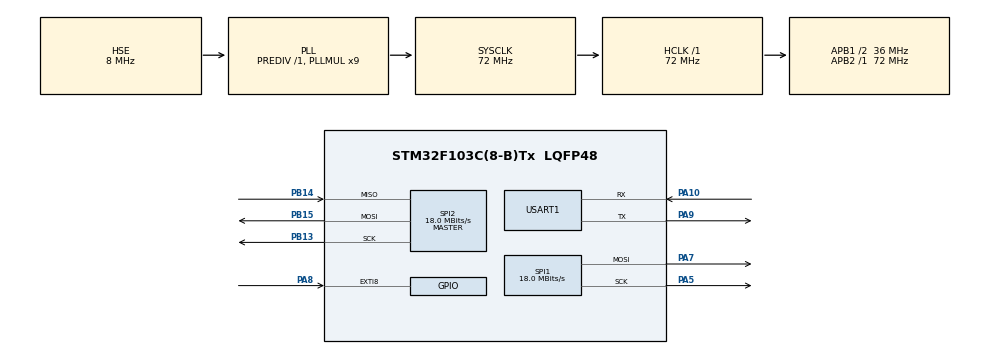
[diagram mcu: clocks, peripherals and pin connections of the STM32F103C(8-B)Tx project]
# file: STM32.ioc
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FREERTOS.Tasks01=transmit_data2s,24,256,StartDefaultTask,Default,NULL,Dynamic,NULL,NULL;read_sensor_tas,16,256,StartTask02,Default,NULL,Dynamic,NULL,NULL
FREERTOS.configUSE_NEWLIB_REENTRANT=1
Mcu.Family=STM32F1
Mcu.Name=STM32F103C(8-B)Tx
Mcu.Package=LQFP48
NVIC.EXTI9_5_IRQn=true\:5\:0\:false\:false\:true\:true\:true\:true\:true
NVIC.PriorityGroup=NVIC_PRIORITYGROUP_4
NVIC.RCC_IRQn=true\:5\:0\:false\:false\:true\:true\:true\:false\:true
NVIC.TIM3_IRQn=true\:15\:0\:false\:false\:true\:false\:false\:true\:true
NVIC.TimeBase=TIM3_IRQn
NVIC.TimeBaseIP=TIM3
PA10.Mode=Asynchronous
PA10.Signal=USART1_RX
PA13.Mode=Serial_Wire
PA13.Signal=SYS_JTMS-SWDIO
PA14.Mode=Serial_Wire
PA14.Signal=SYS_JTCK-SWCLK
PA4.Signal=SPI1_NSS
PA5.Mode=TX_Only_Simplex_Unidirect_Master
PA5.Signal=SPI1_SCK
PA6.Signal=SPI1_MISO
PA7.Mode=TX_Only_Simplex_Unidirect_Master
PA7.Signal=SPI1_MOSI
PA8.GPIO_ModeDefaultEXTI=GPIO_MODE_IT_FALLING
PA8.GPIO_PuPd=GPIO_PULLUP
PA8.Signal=GPXTI8
PA9.Mode=Asynchronous
PA9.Signal=USART1_TX
PB12.Signal=SPI2_NSS
PB13.Mode=Full_Duplex_Master
PB13.Signal=SPI2_SCK
PB14.Mode=Full_Duplex_Master
PB14.Signal=SPI2_MISO
PB15.Mode=Full_Duplex_Master
PB15.Signal=SPI2_MOSI
PD0-OSC_IN.Mode=HSE-External-Oscillator
PD0-OSC_IN.Signal=RCC_OSC_IN
PD1-OSC_OUT.Mode=HSE-External-Oscillator
PD1-OSC_OUT.Signal=RCC_OSC_OUT
ProjectManager.HeapSize=0x200
ProjectManager.StackSize=0x400
ProjectManager.TargetToolchain=STM32CubeIDE
RCC.AHBFreq_Value=72000000
RCC.APB1CLKDivider=RCC_HCLK_DIV2
RCC.APB1Freq_Value=36000000
RCC.APB1TimFreq_Value=72000000
RCC.APB2Freq_Value=72000000
RCC.APB2TimFreq_Value=72000000
RCC.HCLKFreq_Value=72000000
RCC.PLLMUL=RCC_PLL_MUL9
RCC.PLLSourceVirtual=RCC_PLLSOURCE_HSE
RCC.SYSCLKFreq_VALUE=72000000
RCC.SYSCLKSource=RCC_SYSCLKSOURCE_PLLCLK
RCC.USBFreq_Value=72000000
SPI1.BaudRatePrescaler=SPI_BAUDRATEPRESCALER_4
SPI1.CalculateBaudRate=18.0 MBits/s
SPI1.DataSize=SPI_DATASIZE_8BIT
SPI1.Direction=SPI_DIRECTION_2LINES
SPI1.Mode=SPI_MODE_MASTER
SPI1.VirtualType=VM_MASTER
SPI2.BaudRatePrescaler=SPI_BAUDRATEPRESCALER_2
SPI2.CalculateBaudRate=18.0 MBits/s
SPI2.Direction=SPI_DIRECTION_2LINES
SPI2.Mode=SPI_MODE_MASTER
SPI2.VirtualType=VM_MASTER
USART1.VirtualMode=VM_ASYNC
VP_FREERTOS_VS_CMSIS_V2.Mode=CMSIS_V2
VP_SYS_VS_tim3.Mode=TIM3
board=custom

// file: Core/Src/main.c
/* USER CODE BEGIN Header */
/**
  ******************************************************************************
  * @file           : main.c
  * @brief          : Main program body
  ******************************************************************************
  * @attention
  *
  * Copyright (c) 2026 STMicroelectronics.
  * All rights reserved.
  *
  * This software is licensed under terms that can be found in the LICENSE file
  * in the root directory of this software component.
  * If no LICENSE file comes with this software, it is provided AS-IS.
  *
  ******************************************************************************
  */
/* USER CODE END Header */
#include "main.h"
#include "cmsis_os.h"

/* USER CODE BEGIN Includes */
#include <stdio.h>
/* USER CODE END Includes */

/* USER CODE BEGIN PTD */
#ifdef __GNUC__
  #define PUTCHAR_PROTOTYPE int __io_putchar(int ch)
#else
  #define PUTCHAR_PROTOTYPE int fputc(int ch, FILE *f)
#endif
/* USER CODE END PTD */

/* USER CODE BEGIN PD */
#define TASK02_FLAG_INT              (1U << 0)

#define MAX30003_STATUS_EINT         (1UL << 23)
#define MAX30003_STATUS_RTOR         (1UL << 10)

#define MAX30003_RTOR_REG_OFFSET     10U
#define MAX30003_RTOR_LSB_RES        0.0078125f
#define MAX30003_ETAG_BITS           0x07U

#define FIFO_VALID_SAMPLE            0x00U
#define FIFO_FAST_SAMPLE             0x01U
#define FIFO_OVF                     0x07U
/* USER CODE END PD */

/* USER CODE BEGIN PM */
void ecg_config(MAX30003_SPI *dev);
void store_sample_to_buff(int32_t sample);
/* USER CODE END PM */

SPI_HandleTypeDef hspi1;
SPI_HandleTypeDef hspi2;

UART_HandleTypeDef huart1;

/* Definitions for transmit_data2s */
osThreadId_t transmit_data2sHandle;
const osThreadAttr_t transmit_data2s_attributes = {
  .name = "transmit_data2s",
  .stack_size = 256 * 4,
  .priority = (osPriority_t) osPriorityNormal,
};
/* Definitions for read_sensor_tas */
osThreadId_t read_sensor_tasHandle;
const osThreadAttr_t read_sensor_tas_attributes = {
  .name = "read_sensor_tas",
  .stack_size = 256 * 4,
  .priority = (osPriority_t) osPriorityBelowNormal,
};
/* USER CODE BEGIN PV */
int32_t data_buffer1[LENGTH_BUFFER] = {0};
int32_t data_buffer2[LENGTH_BUFFER] = {0};
volatile int32_t *fill_buffer =  data_buffer1;
volatile int32_t *tx_buffer = NULL;
volatile bool buffer_ready = false;
volatile uint16_t fill_index = 0;
MAX30003_SPI max30003_spi;
/* USER CODE END PV */

void SystemClock_Config(void);
static void MX_GPIO_Init(void);
static void MX_SPI1_Init(void);
static void MX_SPI2_Init(void);
static void MX_USART1_UART_Init(void);
void StartDefaultTask(void *argument);
void StartTask02(void *argument);

/* USER CODE BEGIN 0 */
PUTCHAR_PROTOTYPE{
	HAL_UART_Transmit(&huart1, (uint8_t *)&ch, 1, 0xFFFF);
	  return ch;
}
/* USER CODE END 0 */

int main(void)
{

  /* MCU Configuration--------------------------------------------------------*/

  /* Reset of all peripherals, Initializes the Flash interface and the Systick. */
  HAL_Init();

  /* Configure the system clock */
  SystemClock_Config();

  /* Initialize all configured peripherals */
  MX_GPIO_Init();
  MX_SPI1_Init();
  MX_SPI2_Init();
  MX_USART1_UART_Init();

  /* Init scheduler */
  osKernelInitialize();

  /* Create the thread(s) */
  /* creation of transmit_data2s */
  transmit_data2sHandle = osThreadNew(StartDefaultTask, NULL, &transmit_data2s_attributes);

  /* creation of read_sensor_tas */
  read_sensor_tasHandle = osThreadNew(StartTask02, NULL, &read_sensor_tas_attributes);

  /* Start scheduler */
  osKernelStart();

  /* We should never get here as control is now taken by the scheduler */

  /* Infinite loop */
  while (1)
  {

  }
}

void SystemClock_Config(void)
{
  RCC_OscInitTypeDef RCC_OscInitStruct = {0};
  RCC_ClkInitTypeDef RCC_ClkInitStruct = {0};

  /** Initializes the RCC Oscillators according to the specified parameters
  * in the RCC_OscInitTypeDef structure.
  */
  RCC_OscInitStruct.OscillatorType = RCC_OSCILLATORTYPE_HSE;
  RCC_OscInitStruct.HSEState = RCC_HSE_ON;
  RCC_OscInitStruct.HSEPredivValue = RCC_HSE_PREDIV_DIV1;
  RCC_OscInitStruct.HSIState = RCC_HSI_ON;
  RCC_OscInitStruct.PLL.PLLState = RCC_PLL_ON;
  RCC_OscInitStruct.PLL.PLLSource = RCC_PLLSOURCE_HSE;
  RCC_OscInitStruct.PLL.PLLMUL = RCC_PLL_MUL9;
  if (HAL_RCC_OscConfig(&RCC_OscInitStruct) != HAL_OK)
  {
    Error_Handler();
  }

  /** Initializes the CPU, AHB and APB buses clocks
  */
  RCC_ClkInitStruct.ClockType = RCC_CLOCKTYPE_HCLK|RCC_CLOCKTYPE_SYSCLK
                              |RCC_CLOCKTYPE_PCLK1|RCC_CLOCKTYPE_PCLK2;
  RCC_ClkInitStruct.SYSCLKSource = RCC_SYSCLKSOURCE_PLLCLK;
  RCC_ClkInitStruct.AHBCLKDivider = RCC_SYSCLK_DIV1;
  RCC_ClkInitStruct.APB1CLKDivider = RCC_HCLK_DIV2;
  RCC_ClkInitStruct.APB2CLKDivider = RCC_HCLK_DIV1;

  if (HAL_RCC_ClockConfig(&RCC_ClkInitStruct, FLASH_LATENCY_2) != HAL_OK)
  {
    Error_Handler();
  }
}

static void MX_SPI1_Init(void)
{

  /* SPI1 parameter configuration*/
  hspi1.Instance = SPI1;
  hspi1.Init.Mode = SPI_MODE_MASTER;
  hspi1.Init.Direction = SPI_DIRECTION_2LINES;
  hspi1.Init.DataSize = SPI_DATASIZE_8BIT;
  hspi1.Init.CLKPolarity = SPI_POLARITY_LOW;
  hspi1.Init.CLKPhase = SPI_PHASE_1EDGE;
  hspi1.Init.NSS = SPI_NSS_SOFT;
  hspi1.Init.BaudRatePrescaler = SPI_BAUDRATEPRESCALER_4;
  hspi1.Init.FirstBit = SPI_FIRSTBIT_MSB;
  hspi1.Init.TIMode = SPI_TIMODE_DISABLE;
  hspi1.Init.CRCCalculation = SPI_CRCCALCULATION_DISABLE;
  hspi1.Init.CRCPolynomial = 10;
  if (HAL_SPI_Init(&hspi1) != HAL_OK)
  {
    Error_Handler();
  }

}

static void MX_SPI2_Init(void)
{

  /* SPI2 parameter configuration*/
  hspi2.Instance = SPI2;
  hspi2.Init.Mode = SPI_MODE_MASTER;
  hspi2.Init.Direction = SPI_DIRECTION_2LINES;
  hspi2.Init.DataSize = SPI_DATASIZE_8BIT;
  hspi2.Init.CLKPolarity = SPI_POLARITY_LOW;
  hspi2.Init.CLKPhase = SPI_PHASE_1EDGE;
  hspi2.Init.NSS = SPI_NSS_SOFT;
  hspi2.Init.BaudRatePrescaler = SPI_BAUDRATEPRESCALER_32;
  hspi2.Init.FirstBit = SPI_FIRSTBIT_MSB;
  hspi2.Init.TIMode = SPI_TIMODE_DISABLE;
  hspi2.Init.CRCCalculation = SPI_CRCCALCULATION_DISABLE;
  hspi2.Init.CRCPolynomial = 10;
  if (HAL_SPI_Init(&hspi2) != HAL_OK)
  {
    Error_Handler();
  }

}

static void MX_USART1_UART_Init(void)
{

  huart1.Instance = USART1;
  huart1.Init.BaudRate = 115200;
  huart1.Init.WordLength = UART_WORDLENGTH_8B;
  huart1.Init.StopBits = UART_STOPBITS_1;
  huart1.Init.Parity = UART_PARITY_NONE;
  huart1.Init.Mode = UART_MODE_TX_RX;
  huart1.Init.HwFlowCtl = UART_HWCONTROL_NONE;
  huart1.Init.OverSampling = UART_OVERSAMPLING_16;
  if (HAL_UART_Init(&huart1) != HAL_OK)
  {
    Error_Handler();
  }

}

static void MX_GPIO_Init(void)
{
  GPIO_InitTypeDef GPIO_InitStruct = {0};

  /* GPIO Ports Clock Enable */
  __HAL_RCC_GPIOD_CLK_ENABLE();
  __HAL_RCC_GPIOA_CLK_ENABLE();
  __HAL_RCC_GPIOB_CLK_ENABLE();

  /*Configure GPIO pin : PA8 */
  GPIO_InitStruct.Pin = GPIO_PIN_8;
  GPIO_InitStruct.Mode = GPIO_MODE_IT_FALLING;
  GPIO_InitStruct.Pull = GPIO_PULLUP;
  HAL_GPIO_Init(GPIOA, &GPIO_InitStruct);

  /* EXTI interrupt init*/
  HAL_NVIC_SetPriority(EXTI9_5_IRQn, 5, 0);
  HAL_NVIC_EnableIRQ(EXTI9_5_IRQn);

}

/* USER CODE BEGIN 4 */
void HAL_GPIO_EXTI_Callback(uint16_t GPIO_Pin)
{
    if (GPIO_Pin == GPIO_PIN_8)
    {
      printf("exti fired\r\n");
      if (read_sensor_tasHandle != NULL)
      {
          osThreadFlagsSet(read_sensor_tasHandle, TASK02_FLAG_INT);
      }
    }
}

void ecg_config(MAX30003_SPI *dev)
{
  HAL_StatusTypeDef status;

  GeneralConfiguration_u      cnfg_gen;
  ECGConfiguration_u          cnfg_ecg;
  RtoR1Configuration_u        cnfg_rtor;
  ManageInterrupts_u          mngr_int;
  EnableInterrupts_u          en_int;
  ManageDynamicModes_u        mngr_dyn;
  MuxConfiguration_u          cnfg_mux;

  if (dev == NULL)
  {
    printf("ecg_config: dev is NULL\r\n");
    return;
  }

  printf("ecg_config: start\r\n");

  // Reset ECG to clear registers
  printf("ecg_config: write SW_RST\r\n");
  status = max30003_writeRegister(dev, SW_RST, 0);
  if (status != HAL_OK)
  {
    printf("ecg_config: write SW_RST failed, status = %d\r\n", status);
    return;
  }

  printf("ecg_config: SW_RST ok\r\n");
  osDelay(100);

  // general config register
  cnfg_gen.all = 0;
  cnfg_gen.bits.en_ecg = 1;
  cnfg_gen.bits.rbiasn = 1;
  cnfg_gen.bits.rbiasp = 1;
  cnfg_gen.bits.en_rbias = 1;
  cnfg_gen.bits.imag = 2;
  cnfg_gen.bits.en_dcloff = 1;

  printf("ecg_config: write CNFG_GEN = 0x%08lX\r\n", cnfg_gen.all);
  status = max30003_writeRegister(dev, CNFG_GEN, cnfg_gen.all);
  if (status != HAL_OK)
  {
    printf("ecg_config: write CNFG_GEN failed, status = %d\r\n", status);
    return;
  }
  printf("ecg_config: CNFG_GEN ok\r\n");

  // ECG config register
  cnfg_ecg.all = 0;
  cnfg_ecg.bits.dlpf = 1;
  cnfg_ecg.bits.dhpf = 1;
  cnfg_ecg.bits.gain = 3;
  cnfg_ecg.bits.rate = 2;

  printf("ecg_config: write CNFG_ECG = 0x%08lX\r\n", cnfg_ecg.all);
  status = max30003_writeRegister(dev, CNFG_ECG, cnfg_ecg.all);
  if (status != HAL_OK)
  {
    printf("ecg_config: write CNFG_ECG failed, status = %d\r\n", status);
    return;
  }
  printf("ecg_config: CNFG_ECG ok\r\n");

  // R-to-R config
  cnfg_rtor.all = 0;
  cnfg_rtor.bits.wndw = 0x03;
  cnfg_rtor.bits.rgain = 0x0F;
  cnfg_rtor.bits.pavg = 0x03;
  cnfg_rtor.bits.ptsf = 0x03;
  cnfg_rtor.bits.en_rtor = 1;

  printf("ecg_config: write CNFG_RTOR1 = 0x%08lX\r\n", cnfg_rtor.all);
  status = max30003_writeRegister(dev, CNFG_RTOR1, cnfg_rtor.all);
  if (status != HAL_OK)
  {
    printf("ecg_config: write CNFG_RTOR1 failed, status = %d\r\n", status);
    return;
  }
  printf("ecg_config: CNFG_RTOR1 ok\r\n");

  // manage interrupts register
  mngr_int.all = 0;
  mngr_int.bits.efit = 0x03;
  mngr_int.bits.clr_rrint = 0x01;

  printf("ecg_config: write MNGR_INT = 0x%08lX\r\n", mngr_int.all);
  status = max30003_writeRegister(dev, MNGR_INT, mngr_int.all);
  if (status != HAL_OK)
  {
    printf("ecg_config: write MNGR_INT failed, status = %d\r\n", status);
    return;
  }
  printf("ecg_config: MNGR_INT ok\r\n");

  // Enable interrupts register setting
  en_int.all = 0;
  en_int.bits.en_eint = 1;
  en_int.bits.en_rrint = 1;
  en_int.bits.intb_type = 0x03;   // 01b = CMOS driver

  printf("ecg_config: write EN_INT = 0x%08lX\r\n", en_int.all);
  status = max30003_writeRegister(dev, EN_INT, en_int.all);
  if (status != HAL_OK)
  {
    printf("ecg_config: write EN_INT failed, status = %d\r\n", status);
    return;
  }
  printf("ecg_config: EN_INT ok\r\n");

  // dynamic mode config
  mngr_dyn.all = 0;
  mngr_dyn.bits.fast = 0;

  printf("ecg_config: write MNGR_DYN = 0x%08lX\r\n", mngr_dyn.all);
  status = max30003_writeRegister(dev, MNGR_DYN, mngr_dyn.all);
  if (status != HAL_OK)
  {
    printf("ecg_config: write MNGR_DYN failed, status = %d\r\n", status);
    return;
  }
  printf("ecg_config: MNGR_DYN ok\r\n");

  // MUX config
  cnfg_mux.all = 0;
  cnfg_mux.bits.openn = 0;
  cnfg_mux.bits.openp = 0;

  printf("ecg_config: write CNFG_EMUX = 0x%08lX\r\n", cnfg_mux.all);
  status = max30003_writeRegister(dev, CNFG_EMUX, cnfg_mux.all);
  if (status != HAL_OK)
  {
    printf("ecg_config: write CNFG_EMUX failed, status = %d\r\n", status);
    return;
  }
  printf("ecg_config: CNFG_EMUX ok\r\n");

  printf("ecg_config: done\r\n");
}
void store_sample_to_buff(int32_t sample){
  if(buffer_ready){
    return;
  }
  fill_buffer[fill_index++] = sample;
  if(fill_index >= LENGTH_BUFFER){
    tx_buffer = fill_buffer;
    buffer_ready = true;
    fill_buffer = (fill_buffer == data_buffer1) ? data_buffer2 : data_buffer1;
    fill_index = 0;
  }
}
/* USER CODE END 4 */

void StartDefaultTask(void *argument)
{
  /* USER CODE BEGIN 5 */
  /* Infinite loop */
  for(;;)
  {
    if(buffer_ready && tx_buffer != NULL){
      HAL_GPIO_WritePin(GPIOA, GPIO_PIN_4, GPIO_PIN_RESET);
      HAL_SPI_Transmit(&hspi1, (uint8_t*)(void*)tx_buffer,
                                LENGTH_BUFFER * sizeof(int32_t),
                                HAL_MAX_DELAY);
      HAL_GPIO_WritePin(GPIOA, GPIO_PIN_4, GPIO_PIN_SET);
      buffer_ready = false;
      tx_buffer = NULL;
    }
    osDelay(1);
  }
  /* USER CODE END 5 */
}

void StartTask02(void *argument)
{
  /* USER CODE BEGIN StartTask02 */
  max30003_init(&max30003_spi, &hspi2, GPIOB, GPIO_PIN_12);
  ecg_config(&max30003_spi);

  if (max30003_writeRegister(&max30003_spi, SYNCH, 0) != HAL_OK)
  {
      printf("MAX30003 SYNCH failed\r\n");
      Error_Handler();
  }

  printf("MAX30003 init success\r\n");

  uint32_t status = 0;
  uint32_t ecgFIFO = 0;
  uint32_t rtor_raw = 0;

  uint8_t etag = 0;
  uint8_t readECGSamples = 0;
  uint8_t idx = 0;

  int32_t ecgSample[32];
  uint8_t ETAG[32];

  uint16_t RtoR = 0;
  float BPM = 0.0f;

  uint32_t fifo_ovf_count = 0;
  uint32_t valid_sample_count = 0;

  /* Infinite loop */
  for(;;)
  {
    // uint32_t status = 0;

    // if (max30003_readRegister(&max30003_spi, STATUS, &status) == HAL_OK)
    // {
    //     printf("STATUS = 0x%08lX\r\n", status);
    // }
    // else
    // {
    //     printf("read STATUS failed\r\n");
    // }

    // osDelay(500);
    /* Read back ECG samples from the FIFO */
    osThreadFlagsWait(TASK02_FLAG_INT, osFlagsWaitAny, 100);

    //printf("Interrupt received....\r\n");

    // Read the STATUS register
    if (max30003_readRegister(&max30003_spi, STATUS, &status) != HAL_OK)
    {
        //printf("read STATUS failed\r\n");
        continue;
    }

    //printf("Status : 0x%08lX\r\n", status);
    //printf("Current BPM is %3.2f\r\n\r\n", BPM);

    // Check if R-to-R interrupt asserted
    if ((status & MAX30003_STATUS_RTOR) == MAX30003_STATUS_RTOR)
    {
      //printf("R-to-R Interrupt\r\n");

      // Read RtoR register
      if (max30003_readRegister(&max30003_spi, RTOR, &rtor_raw) == HAL_OK)
      {
        RtoR = (uint16_t)(rtor_raw >> MAX30003_RTOR_REG_OFFSET);

        // Convert to BPM
        if (RtoR != 0)
        {
          BPM = 1.0f / ((float)RtoR * MAX30003_RTOR_LSB_RES / 60.0f);
        }
        else
        {
          BPM = 0.0f;
          //printf("warning: RtoR = 0\r\n");
        }

        //printf("RtoR : %u\r\n\r\n", RtoR);
      }
      else
      {
        //printf("read RTOR failed\r\n");
      }
    }

    // Check if EINT interrupt asserted
    if ((status & MAX30003_STATUS_EINT) == MAX30003_STATUS_EINT)
    {
      //printf("FIFO Interrupt\r\n");

      readECGSamples = 0; // Reset sample counter

      do
      {
        // Read FIFO
        if (max30003_readRegister(&max30003_spi, ECG_FIFO, &ecgFIFO) != HAL_OK)
        {
          //printf("read ECG_FIFO failed\r\n");
          break;
        }

        // Isolate voltage data (theo demo của nhà sản xuất)
        ecgSample[readECGSamples] = (int32_t)(ecgFIFO >> 8);

        // Isolate ETAG
        ETAG[readECGSamples] = (uint8_t)((ecgFIFO >> 3) & MAX30003_ETAG_BITS);

        readECGSamples++;

        // chống tràn mảng cục bộ
        if (readECGSamples >= 32)
        {
          //printf("local FIFO buffer full (32 entries), stop reading\r\n");
          break;
        }

        etag = ETAG[readECGSamples - 1];

        if (etag == FIFO_OVF)
        {
          break;
        }
      }
      // Check that sample is not last sample in FIFO
      while (ETAG[readECGSamples - 1] == FIFO_VALID_SAMPLE ||
             ETAG[readECGSamples - 1] == FIFO_FAST_SAMPLE);

      //printf("%u samples read from FIFO\r\n", readECGSamples);

      // Check if FIFO has overflowed
      if ((readECGSamples > 0) && (ETAG[readECGSamples - 1] == FIFO_OVF))
      {
        if (max30003_writeRegister(&max30003_spi, FIFO_RST, 0) == HAL_OK)
        {
          fifo_ovf_count++;
        }
        else
        {
          //printf("FIFO overflow -> FIFO reset failed\r\n");
        }
      }

      // Print results
      for (idx = 0; idx < readECGSamples; idx++)
      {
        // chỉ lưu vào buffer khi là sample hợp lệ
        if ((ETAG[idx] == FIFO_VALID_SAMPLE) ||
            (ETAG[idx] == FIFO_FAST_SAMPLE))
        {
          store_sample_to_buff(ecgSample[idx]);
          valid_sample_count++;
        }
        else
        {
          //printf("skip storing sample[%u] because ETAG = 0x%X\r\n", idx, ETAG[idx]);
        }
      }

      if ((valid_sample_count % 32U) == 0U && valid_sample_count != 0U)
      {
        printf("valid_sample_count=%lu, fifo_ovf_count=%lu, BPM=%0.2f\r\n",
               (unsigned long)valid_sample_count,
               (unsigned long)fifo_ovf_count,
               BPM);
      }

      //printf("\r\n\r\n\r\n");
    }
    else
    {
      //printf("No EINT interrupt flag in STATUS\r\n\r\n");
    }
  }
  /* USER CODE END StartTask02 */
}
void HAL_TIM_PeriodElapsedCallback(TIM_HandleTypeDef *htim)
{
  if (htim->Instance == TIM3)
  {
    HAL_IncTick();
  }
}

void Error_Handler(void)
{
  __disable_irq();
  while (1)
  {
  }
}
